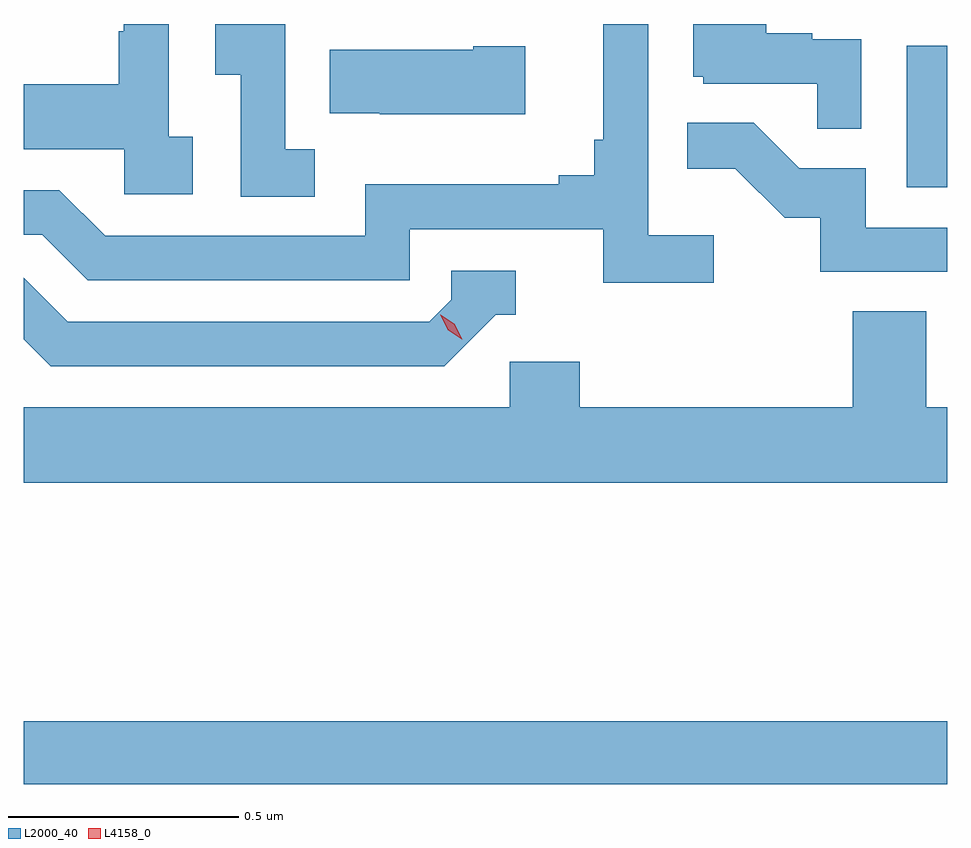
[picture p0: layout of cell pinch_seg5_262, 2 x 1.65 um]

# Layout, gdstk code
import gdstk
lib = gdstk.Library(unit=1e-6, precision=1e-09)
def R(c, l, rs):  # rectangles x0, y0, x1, y1
    for r in rs: c.add(gdstk.rectangle(r[:2], r[2:], *l))
def P(c, l, *ps):  # polygons
    for p in ps: c.add(gdstk.Polygon(p, *l))
L2000_40 = (2000, 40)
L4158_0 = (4158, 0)

pinch_seg5_262 = lib.new_cell('pinch_seg5_262')
R(pinch_seg5_262, L2000_40, [(929.128,900.064,931.128,900.2), (931.04,901.356,931.128,901.663)])
P(pinch_seg5_262, L2000_40, [(929.758,901.439),(929.694,901.439),(929.694,901.71),(929.543,901.71),(929.543,901.6),(929.598,901.6),(929.598,901.336),(929.758,901.336)],
  [(930.942,901.677),(930.836,901.677),(930.836,901.69),(930.736,901.69),(930.736,901.71),(930.578,901.71),(930.578,901.596),(930.6,901.596),(930.6,901.581),(930.847,901.581),(930.847,901.483),(930.942,901.483)],
  [(930.622,901.252),(930.48,901.252),(930.48,901.71),(930.383,901.71),(930.383,901.459),(930.364,901.459),(930.364,901.382),(930.287,901.382),(930.287,901.363),(929.868,901.363),(929.868,901.251),(929.304,901.251),(929.205,901.35),(929.128,901.35),(929.128,901.254),(929.168,901.254),(929.267,901.155),(929.964,901.155),(929.964,901.266),(930.383,901.266),(930.383,901.15),(930.622,901.15)],
  [(929.494,901.466),(929.442,901.466),(929.442,901.71),(929.344,901.71),(929.344,901.694),(929.334,901.694),(929.334,901.579),(929.128,901.579),(929.128,901.439),(929.346,901.439),(929.346,901.341),(929.494,901.341)],
  [(930.214,901.662),(930.101,901.662),(930.101,901.654),(929.791,901.654),(929.791,901.517),(929.899,901.517),(929.899,901.514),(930.214,901.514)],
  [(931.128,901.269),(930.951,901.269),(930.951,901.398),(930.807,901.398),(930.709,901.496),(930.565,901.496),(930.565,901.397),(930.669,901.397),(930.776,901.29),(930.853,901.29),(930.853,901.173),(931.128,901.173)],
  [(930.15,901.08),(930.193,901.08),(930.193,901.176),(930.054,901.176),(930.054,901.113),(930.006,901.065),(929.223,901.065),(929.128,901.16),(929.128,901.027),(929.186,900.969),(930.039,900.969)],
  [(931.128,900.88),(931.083,900.88),(931.083,901.088),(930.923,901.088),(930.923,900.88),(930.332,900.88),(930.332,900.978),(930.18,900.978),(930.18,900.88),(929.128,900.88),(929.128,900.716),(931.128,900.716)])
P(pinch_seg5_262, L4158_0, [(930.077,901.027),(930.047,901.047),(930.03,901.08),(930.03,901.08),(930.031,901.08),(930.061,901.06),(930.078,901.027),(930.078,901.027)])

lib.write_gds('pinch_seg5_262.gds')
